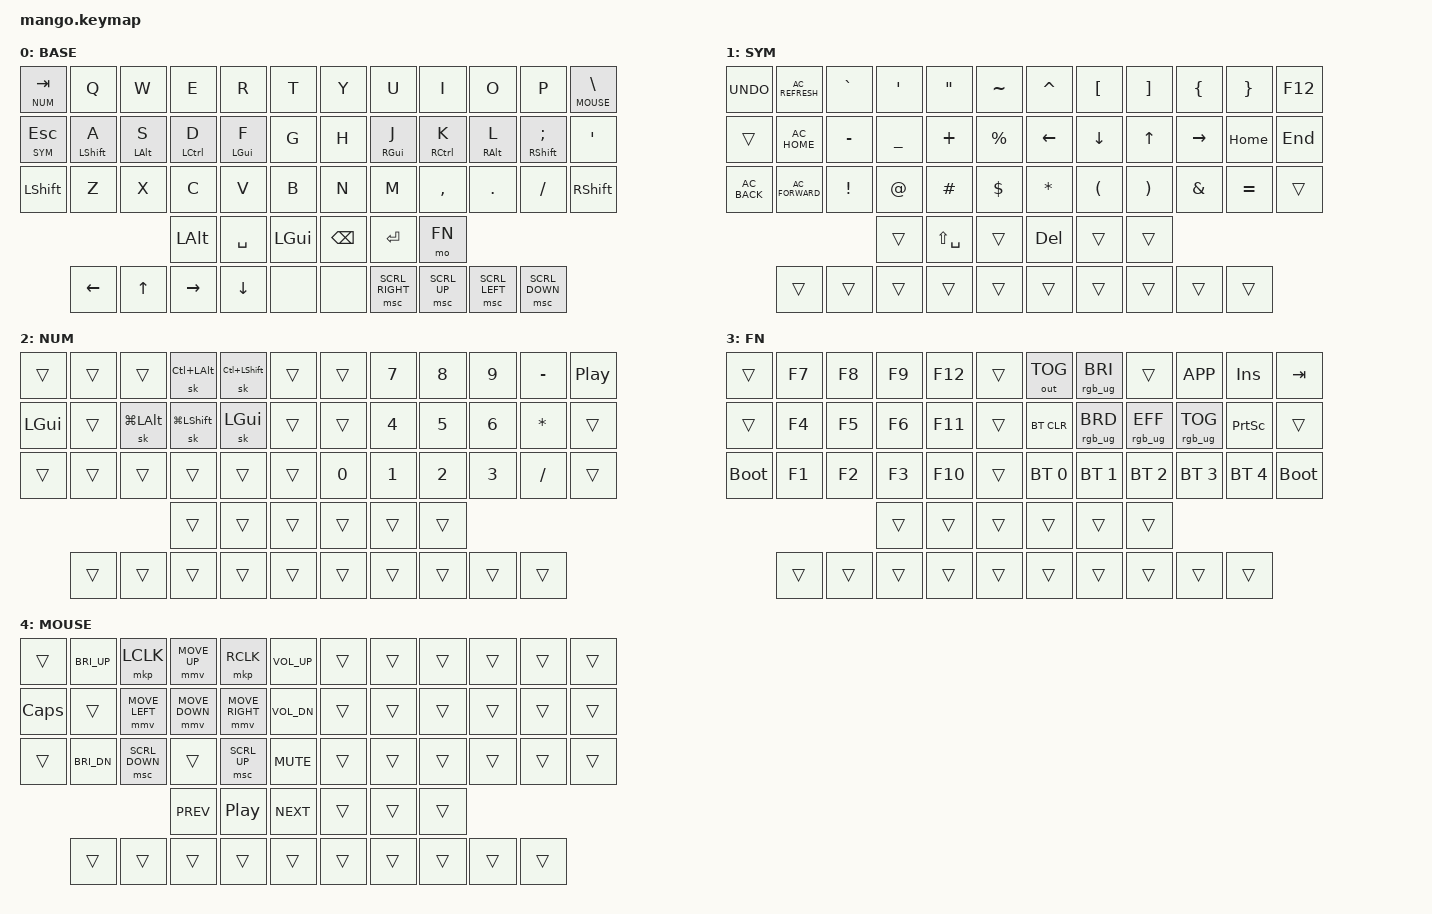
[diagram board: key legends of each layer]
/*
 * Mango keymap, ported from the kdarkhan Sofle QMK keymap.
 *
 * This file overrides the board's keymap in boards/arm/mango/mango.keymap
 * (ZMK looks in config/ first).
 *
 * Key positions:
 *    0  1  2  3  4  5      6  7  8  9 10 11
 *   12 13 14 15 16 17     18 19 20 21 22 23
 *   24 25 26 27 28 29     30 31 32 33 34 35
 *            36 37 38     39 40 41
 *   joysticks: left 42-46, right 47-51
 */

#include <behaviors.dtsi>
#include <dt-bindings/zmk/keys.h>
#include <dt-bindings/zmk/bt.h>
#include <dt-bindings/zmk/outputs.h>
#include <dt-bindings/zmk/rgb.h>
#include <dt-bindings/zmk/pointing.h>

#define BASE  0
#define SYM   1
#define NUM   2
#define FN    3
#define MOUSE 4

#define KEYS_L 0 1 2 3 4 5 12 13 14 15 16 17 24 25 26 27 28 29
#define KEYS_R 6 7 8 9 10 11 18 19 20 21 22 23 30 31 32 33 34 35
#define THUMBS 36 37 38 39 40 41

// One-shot mods expire after 5 s, like ONESHOT_TIMEOUT on the Sofle.
&sk {
    release-after-ms = <5000>;
};

/ {
    behaviors {
        // Home row mods, equivalent to the Sofle's TAPPING_TERM 200,
        // QUICK_TAP_TERM 100, FLOW_TAP_TERM 100 and CHORDAL_HOLD: a mod only
        // activates together with a key on the other hand (or a thumb key).
        hml: homerow_mods_left {
            compatible = "zmk,behavior-hold-tap";
            #binding-cells = <2>;
            flavor = "balanced";
            tapping-term-ms = <200>;
            quick-tap-ms = <100>;
            require-prior-idle-ms = <100>;
            hold-trigger-key-positions = <KEYS_R THUMBS>;
            hold-trigger-on-release;
            bindings = <&kp>, <&kp>;
        };

        hmr: homerow_mods_right {
            compatible = "zmk,behavior-hold-tap";
            #binding-cells = <2>;
            flavor = "balanced";
            tapping-term-ms = <200>;
            quick-tap-ms = <100>;
            require-prior-idle-ms = <100>;
            hold-trigger-key-positions = <KEYS_L THUMBS>;
            hold-trigger-on-release;
            bindings = <&kp>, <&kp>;
        };
    };

    keymap {
        compatible = "zmk,keymap";

        /*
         * BASE
         * TAB/NUM  Q    W    E    R    T        Y    U    I    O    P    \/MOUSE
         * ESC/SYM  A⇧   S⌥   D⌃   F◆   G        H    J◆   K⌃   L⌥   ;⇧   '
         * LSHFT    Z    X    C    V    B        N    M    ,    .    /    RSHFT
         *                   ALT  SPC  GUI      BSPC ENT  FN
         * joysticks: left = arrows, right = scroll (untested, directions may be swapped)
         */
        base_layer {
            display-name = "BASE";
            bindings = <
    &lt NUM TAB  &kp Q          &kp W         &kp E          &kp R         &kp T        &kp Y     &kp U        &kp I         &kp O         &kp P           &lt MOUSE BSLH
    &lt SYM ESC  &hml LSHFT A   &hml LALT S   &hml LCTRL D   &hml LGUI F   &kp G        &kp H     &hmr RGUI J  &hmr RCTRL K   &hmr RALT L   &hmr RSHFT SEMI &kp SQT
    &kp LSHFT    &kp Z          &kp X         &kp C          &kp V         &kp B        &kp N     &kp M        &kp COMMA      &kp DOT       &kp FSLH        &kp RSHFT
                                              &kp LALT       &kp SPACE     &kp LGUI     &kp BSPC  &kp RET      &mo FN

                 &kp LEFT       &kp UP        &kp RIGHT      &kp DOWN      &none        &none     &msc SCRL_RIGHT &msc SCRL_UP &msc SCRL_LEFT &msc SCRL_DOWN
            >;
        };

        /*
         * SYM (hold ESC) - the Sofle's ADJ1, plus the number row's symbols
         * UNDO     REFR `    '    "    ~        ^    [    ]    {    }    F12
         *          HOME -    _    +    %        LEFT DOWN UP   RGHT HOME END
         * BACK     FWD  !    @    #    $        *    (    )    &    =
         *                        S-SPC         DEL
         */
        sym_layer {
            display-name = "SYM";
            bindings = <
    &kp K_UNDO       &kp C_AC_REFRESH &kp GRAVE &kp SQT   &kp DQT  &kp TILDE      &kp CARET &kp LBKT  &kp RBKT  &kp LBRC  &kp RBRC  &kp F12
    &trans           &kp C_AC_HOME    &kp MINUS &kp UNDER &kp PLUS &kp PRCNT      &kp LEFT  &kp DOWN  &kp UP    &kp RIGHT &kp HOME  &kp END
    &kp C_AC_BACK    &kp C_AC_FORWARD &kp EXCL  &kp AT    &kp HASH &kp DLLR       &kp ASTRK &kp LPAR  &kp RPAR  &kp AMPS  &kp EQUAL &trans
                                                &trans    &kp LS(SPACE) &trans  &kp DEL   &trans    &trans

                     &trans           &trans    &trans    &trans   &trans         &trans    &trans    &trans    &trans    &trans
            >;
        };

        /*
         * NUM (hold TAB) - the Sofle's ADJ4: one-shot mod combos left, numpad right
         *                    C+A  C+S              7    8    9    -    PLAY
         * GUI           G+A  G+S  GUI              4    5    6    *
         *                                     0    1    2    3    /
         */
        num_layer {
            display-name = "NUM";
            bindings = <
    &trans    &trans  &trans         &sk LC(LALT)   &sk LC(LSHFT) &trans        &trans  &kp N7  &kp N8  &kp N9  &kp MINUS &kp C_PP
    &kp LGUI  &trans  &sk LG(LALT)   &sk LG(LSHFT)  &sk LGUI      &trans        &trans  &kp N4  &kp N5  &kp N6  &kp ASTRK &trans
    &trans    &trans  &trans         &trans         &trans        &trans        &kp N0  &kp N1  &kp N2  &kp N3  &kp FSLH  &trans
                                     &trans         &trans        &trans        &trans  &trans  &trans

              &trans  &trans         &trans         &trans        &trans        &trans  &trans  &trans  &trans  &trans
            >;
        };

        /*
         * FN (hold right outer thumb) - the Sofle's ADJ2, F-keys and keyboard controls.
         * Keyboard controls are on the right (central) half, so BT profiles can be
         * switched with one hand; F-keys are on the left for the other hand.
         *       F7   F8   F9   F12           USB/BT RGB+      APP  INS  TAB
         *       F4   F5   F6   F11           BTCLR  RGB- EFF  RGB  PSCR
         * BOOT  F1   F2   F3   F10           BT0    BT1  BT2  BT3  BT4  BOOT
         */
        fn_layer {
            display-name = "FN";
            bindings = <
    &trans       &kp F7  &kp F8  &kp F9  &kp F12  &trans        &out OUT_TOG  &rgb_ug RGB_BRI  &trans           &kp K_APP        &kp INS       &kp TAB
    &trans       &kp F4  &kp F5  &kp F6  &kp F11  &trans        &bt BT_CLR    &rgb_ug RGB_BRD  &rgb_ug RGB_EFF  &rgb_ug RGB_TOG  &kp PSCRN     &trans
    &bootloader  &kp F1  &kp F2  &kp F3  &kp F10  &trans        &bt BT_SEL 0  &bt BT_SEL 1     &bt BT_SEL 2     &bt BT_SEL 3     &bt BT_SEL 4  &bootloader
                                 &trans  &trans   &trans        &trans        &trans           &trans

                 &trans  &trans  &trans  &trans   &trans        &trans        &trans           &trans           &trans           &trans
            >;
        };

        /*
         * MOUSE (hold \) - the Sofle's ADJ3, plus its media/brightness row
         *       BRI+ LCLK M-UP RCLK VOL+
         * CAPS       M-LF M-DN M-RT VOL-
         *       BRI- WH-D      WH-U MUTE
         *                 PREV PLAY NEXT
         */
        mouse_layer {
            display-name = "MOUSE";
            bindings = <
    &trans    &kp C_BRI_UP  &mkp LCLK       &mmv MOVE_UP    &mkp RCLK        &kp C_VOL_UP     &trans  &trans  &trans  &trans  &trans  &trans
    &kp CAPS  &trans        &mmv MOVE_LEFT  &mmv MOVE_DOWN  &mmv MOVE_RIGHT  &kp C_VOL_DN     &trans  &trans  &trans  &trans  &trans  &trans
    &trans    &kp C_BRI_DN  &msc SCRL_DOWN  &trans          &msc SCRL_UP     &kp C_MUTE       &trans  &trans  &trans  &trans  &trans  &trans
                                            &kp C_PREV      &kp C_PP         &kp C_NEXT       &trans  &trans  &trans

              &trans        &trans          &trans          &trans           &trans           &trans  &trans  &trans  &trans  &trans
            >;
        };
    };
};
